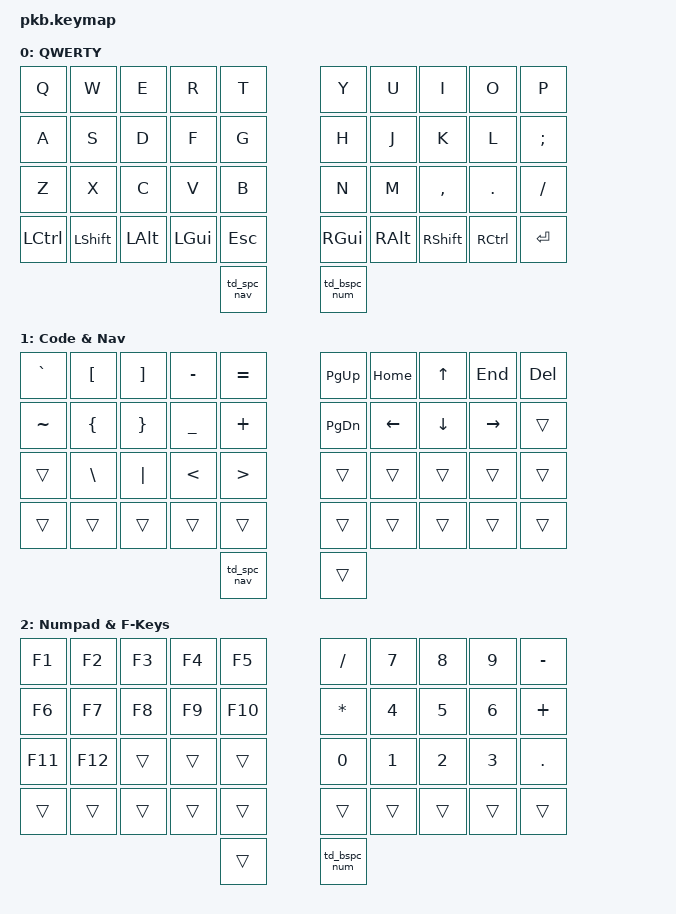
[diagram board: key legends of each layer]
// This file was generated from a template. Edit it to match your keyboard.
#include <behaviors.dtsi>
#include <dt-bindings/zmk/keys.h>

// Name your layers for the code
#define BASE 0
#define CODE_NAV 1
#define NUMPAD 2

/ {
    // 1. Define the Tap-Dance Behaviors
    behaviors {
        // Left Thumb: 1 Tap = Space, 2 Taps = Toggle Layer 1
        td_spc_nav: tap_dance_space_nav {
            compatible = "zmk,behavior-tap-dance";
            #binding-cells = <0>;
            tapping-term-ms = <200>;
            bindings = <&kp SPACE>, <&tog CODE_NAV>; 
        };

        // Right Thumb: 1 Tap = Backspace, 2 Taps = Toggle Layer 2
        td_bspc_num: tap_dance_bspc_num {
            compatible = "zmk,behavior-tap-dance";
            #binding-cells = <0>;
            tapping-term-ms = <200>;
            bindings = <&kp BSPC>, <&tog NUMPAD>; 
        };
    };

    // 2. The Keymap
    keymap {
        compatible = "zmk,keymap";

        base_layer {
            display-name = "QWERTY";
            bindings = <
            // Left Half                                   // Right Half
            &kp Q     &kp W     &kp E    &kp R    &kp T    &kp Y    &kp U    &kp I     &kp O   &kp P
            &kp A     &kp S     &kp D    &kp F    &kp G    &kp H    &kp J    &kp K     &kp L   &kp SEMI
            &kp Z     &kp X     &kp C    &kp V    &kp B    &kp N    &kp M    &kp COMMA &kp DOT &kp SLASH
            &kp LCTRL &kp LSHFT &kp LALT &kp LGUI &kp ESC  &kp RGUI &kp RALT &kp RSHFT &kp RCTRL &kp RET
            
            // Left Thumb                                  // Right Thumb
                                         &td_spc_nav                                &td_bspc_num
            >;
        };

        code_nav_layer {
            display-name = "Code & Nav";
            bindings = <
            // Left Half: Brackets & Symbols               // Right Half: Arrows & Navigation
            &kp GRAVE &kp LBKT  &kp RBKT  &kp MINUS &kp EQUAL  &kp PG_UP &kp HOME &kp UP   &kp END   &kp DEL
            &kp TILDE &kp LBRC  &kp RBRC  &kp UNDER &kp PLUS   &kp PG_DN &kp LEFT &kp DOWN &kp RIGHT &trans
            &trans    &kp BSLH  &kp PIPE  &kp LT    &kp GT     &trans    &trans   &trans   &trans    &trans
            &trans    &trans    &trans    &trans    &trans     &trans    &trans   &trans   &trans    &trans
            
            // Left Thumb (Double-tap to turn off!)        // Right Thumb
                                         &td_spc_nav                                &trans
            >;
        };

        numpad_layer {
            display-name = "Numpad & F-Keys";
            bindings = <
            // Left Half: F-Keys                           // Right Half: Numpad
            &kp F1    &kp F2    &kp F3    &kp F4    &kp F5     &kp SLASH &kp N7 &kp N8 &kp N9 &kp MINUS
            &kp F6    &kp F7    &kp F8    &kp F9    &kp F10    &kp STAR  &kp N4 &kp N5 &kp N6 &kp PLUS
            &kp F11   &kp F12   &trans    &trans    &trans     &kp N0    &kp N1 &kp N2 &kp N3 &kp DOT
            &trans    &trans    &trans    &trans    &trans     &trans    &trans   &trans   &trans    &trans
            
            // Left Thumb                                  // Right Thumb (Double-tap to turn off!)
                                         &trans                                     &td_bspc_num
            >;
        };
    };
};
